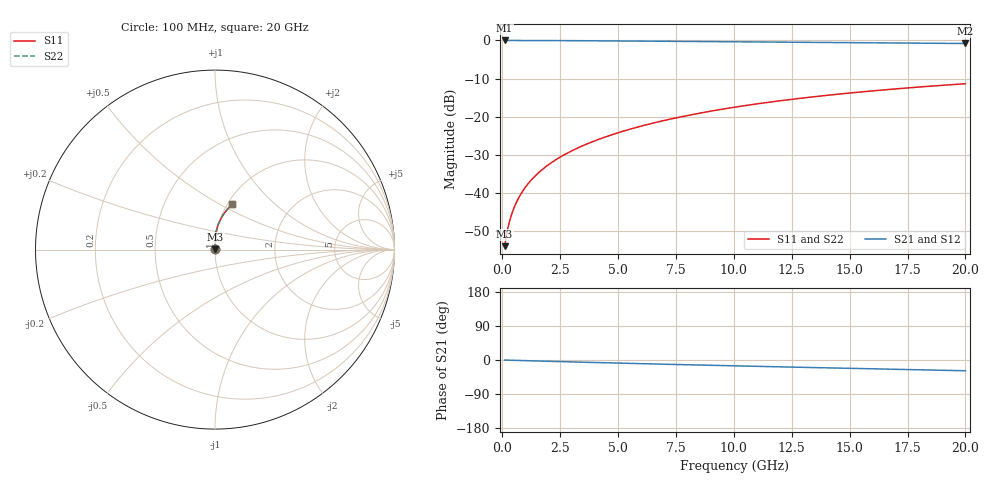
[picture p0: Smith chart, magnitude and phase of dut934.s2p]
! Touchstone file exported from HFSS 2024.1.0
!  File:  C:/UserFiles/LocalFiles/RDL_TSV_Batchsim/temp_RDL_top_934_1779937196.aedt
!  Generated:  11:02:47 AM May 28, 2026
!  Design:  RDL_top
!  Project:  temp_RDL_top_934_1779937196
!  Setup:  Setup1
!  Solution:  Sweep
! Variables:
!  dtsv = 10.80580581um
!  hbump = 3um
!  htsv = 57.46um
!  ldown = 100um
!  lrdl = 397.65um
!  p = 40
!  p1 = 50.42um
!  rhole = 1um
!  t = 450um
!  tdown = 3.915915916um
!  trdl = 4.46um
!  wdown = 15.38538539um
!  wrdl = 23.59um
# GHz S MA R 50.000000
! Terminal data exported
! Port[1] = Box2_T1
! Port[2] = Box2_T2
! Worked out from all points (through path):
!   200 points, 100 MHz to 20 GHz, reference 50 ohm
!   highest |S21| = -0.01 dB at 100 MHz (marker M1); lowest = -0.8 dB at 20 GHz (marker M2)
!   group delay of S21, straight-line fit = 3.89 ps
!   lowest |S11| = -54.0 dB at 100 MHz (marker M3), VSWR 1.00, Z = 50.2 + j0.129 ohm
!   |S11| at or under -10 dB: start of sweep to end of sweep
!   |S22| runs from -54.0 to -11.4 dB; largest |S21 - S12| = 2.7e-15
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0.1  0.001993 40.2  0.9985 -0.2  0.9985 -0.2  0.001993 40.2
! Gamma 0 0 0 0
! Port Impedance 50 0 50 0
0.2  0.002995 57.6  0.9984 -0.4  0.9984 -0.4  0.002995 57.6
0.3  0.004088 65.5  0.9982 -0.5  0.9982 -0.5  0.004088 65.5
0.4  0.005188 70.1  0.9981 -0.7  0.9981 -0.7  0.005188 70.1
0.5  0.006288 73.2  0.998 -0.9  0.998 -0.9  0.006287 73.2
0.6  0.00739 75.5  0.9979 -1.0  0.9979 -1.0  0.007389 75.5
0.8  0.009611 78.7  0.9977 -1.4  0.9977 -1.4  0.00961 78.7
1.1  0.01299 81.7  0.9972 -1.9  0.9972 -1.9  0.01299 81.7
1.5  0.01758 84.1  0.9965 -2.6  0.9965 -2.6  0.01758 84.1
1.8  0.02108 85.3  0.9959 -3.1  0.9959 -3.1  0.02108 85.3
2.1  0.02462 86.1  0.9951 -3.6  0.9951 -3.6  0.02462 86.1
2.7  0.03184 87.3  0.9933 -4.5  0.9933 -4.5  0.03185 87.3
3.5  0.04178 88.1  0.9904 -5.8  0.9904 -5.8  0.04179 88.1
4.2  0.05077 88.3  0.9875 -7.0  0.9875 -7.0  0.05078 88.3
5  0.06136 88.3  0.984 -8.2  0.984 -8.2  0.06137 88.3
6.8  0.08623 87.2  0.9753 -10.9  0.9753 -10.9  0.08625 87.2
8.4  0.1091 85.5  0.9675 -13.2  0.9675 -13.2  0.1092 85.5
10.1  0.1338 83.4  0.9591 -15.5  0.9591 -15.5  0.1339 83.4
11.7  0.1571 81.1  0.9513 -17.7  0.9513 -17.7  0.1571 81.1
13.4  0.1814 78.6  0.9431 -19.9  0.9431 -19.9  0.1815 78.6
16.7  0.2271 73.7  0.9271 -24.2  0.9271 -24.2  0.2272 73.7
20  0.2702 69.0  0.9108 -28.4  0.9108 -28.4  0.2702 69.0
